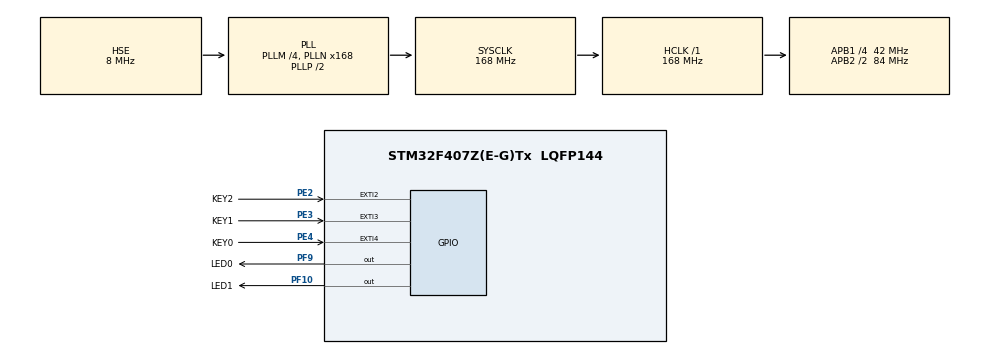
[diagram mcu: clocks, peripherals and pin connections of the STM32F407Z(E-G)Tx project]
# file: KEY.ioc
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Mcu.Family=STM32F4
Mcu.Name=STM32F407Z(E-G)Tx
Mcu.Package=LQFP144
NVIC.EXTI2_IRQn=true\:2\:2\:true\:false\:true\:true\:true
NVIC.EXTI3_IRQn=true\:2\:2\:true\:false\:true\:true\:true
NVIC.EXTI4_IRQn=true\:2\:2\:true\:false\:true\:true\:true
NVIC.PriorityGroup=NVIC_PRIORITYGROUP_2
PC14-OSC32_IN.Mode=LSE-External-Oscillator
PC14-OSC32_IN.Signal=RCC_OSC32_IN
PC15-OSC32_OUT.Mode=LSE-External-Oscillator
PC15-OSC32_OUT.Signal=RCC_OSC32_OUT
PE2.GPIO_Label=KEY2
PE2.GPIO_ModeDefaultEXTI=GPIO_MODE_IT_FALLING
PE2.GPIO_PuPd=GPIO_PULLUP
PE2.Signal=GPXTI2
PE3.GPIO_Label=KEY1
PE3.GPIO_ModeDefaultEXTI=GPIO_MODE_IT_FALLING
PE3.GPIO_PuPd=GPIO_PULLUP
PE3.Signal=GPXTI3
PE4.GPIO_Label=KEY0
PE4.GPIO_ModeDefaultEXTI=GPIO_MODE_IT_FALLING
PE4.GPIO_PuPd=GPIO_PULLUP
PE4.Signal=GPXTI4
PF10.GPIO_Label=LED1
PF10.GPIO_ModeDefaultOutputPP=GPIO_MODE_OUTPUT_PP
PF10.GPIO_PuPd=GPIO_PULLUP
PF10.GPIO_Speed=GPIO_SPEED_FREQ_HIGH
PF10.PinState=GPIO_PIN_SET
PF10.Signal=GPIO_Output
PF9.GPIO_Label=LED0
PF9.GPIO_ModeDefaultOutputPP=GPIO_MODE_OUTPUT_PP
PF9.GPIO_PuPd=GPIO_PULLUP
PF9.PinState=GPIO_PIN_SET
PF9.Signal=GPIO_Output
PH0-OSC_IN.Mode=HSE-External-Oscillator
PH0-OSC_IN.Signal=RCC_OSC_IN
PH1-OSC_OUT.Mode=HSE-External-Oscillator
PH1-OSC_OUT.Signal=RCC_OSC_OUT
ProjectManager.HeapSize=0x200
ProjectManager.StackSize=0x400
ProjectManager.TargetToolchain=MDK-ARM V5.27
RCC.48MHZClocksFreq_Value=84000000
RCC.AHBFreq_Value=168000000
RCC.APB1CLKDivider=RCC_HCLK_DIV4
RCC.APB1Freq_Value=42000000
RCC.APB1TimFreq_Value=84000000
RCC.APB2CLKDivider=RCC_HCLK_DIV2
RCC.APB2Freq_Value=84000000
RCC.APB2TimFreq_Value=168000000
RCC.CortexFreq_Value=168000000
RCC.HCLKFreq_Value=168000000
RCC.HSE_VALUE=8000000
RCC.HSI_VALUE=16000000
RCC.PLLM=4
RCC.PLLN=168
RCC.PLLSourceVirtual=RCC_PLLSOURCE_HSE
RCC.SYSCLKFreq_VALUE=168000000
RCC.SYSCLKSource=RCC_SYSCLKSOURCE_PLLCLK
RCC.VCOOutputFreq_Value=336000000
board=custom

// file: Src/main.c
/* USER CODE BEGIN Header */
/**
  ******************************************************************************
  * @file           : main.c
  * @brief          : Main program body
  ******************************************************************************
  * @attention
  *
  * <h2><center>&copy; Copyright (c) 2021 STMicroelectronics.
  * All rights reserved.</center></h2>
  *
  * This software component is licensed by ST under BSD 3-Clause license,
  * the "License"; You may not use this file except in compliance with the
  * License. You may obtain a copy of the License at:
  *                        opensource.org/licenses/BSD-3-Clause
  *
  ******************************************************************************
  */
/* USER CODE END Header */

#include "main.h"
#include "gpio.h"

void SystemClock_Config(void);

int main(void)
{

  /* MCU Configuration--------------------------------------------------------*/

  /* Reset of all peripherals, Initializes the Flash interface and the Systick. */
  HAL_Init();

  /* Configure the system clock */
  SystemClock_Config();

  /* Initialize all configured peripherals */
  MX_GPIO_Init();

  /* Infinite loop */
  while (1)
  {

  }
}

void SystemClock_Config(void)
{
  RCC_OscInitTypeDef RCC_OscInitStruct = {0};
  RCC_ClkInitTypeDef RCC_ClkInitStruct = {0};

  /** Configure the main internal regulator output voltage
  */
  __HAL_RCC_PWR_CLK_ENABLE();
  __HAL_PWR_VOLTAGESCALING_CONFIG(PWR_REGULATOR_VOLTAGE_SCALE1);
  /** Initializes the CPU, AHB and APB busses clocks
  */
  RCC_OscInitStruct.OscillatorType = RCC_OSCILLATORTYPE_HSE;
  RCC_OscInitStruct.HSEState = RCC_HSE_ON;
  RCC_OscInitStruct.PLL.PLLState = RCC_PLL_ON;
  RCC_OscInitStruct.PLL.PLLSource = RCC_PLLSOURCE_HSE;
  RCC_OscInitStruct.PLL.PLLM = 4;
  RCC_OscInitStruct.PLL.PLLN = 168;
  RCC_OscInitStruct.PLL.PLLP = RCC_PLLP_DIV2;
  RCC_OscInitStruct.PLL.PLLQ = 4;
  if (HAL_RCC_OscConfig(&RCC_OscInitStruct) != HAL_OK)
  {
    Error_Handler();
  }
  /** Initializes the CPU, AHB and APB busses clocks
  */
  RCC_ClkInitStruct.ClockType = RCC_CLOCKTYPE_HCLK|RCC_CLOCKTYPE_SYSCLK
                              |RCC_CLOCKTYPE_PCLK1|RCC_CLOCKTYPE_PCLK2;
  RCC_ClkInitStruct.SYSCLKSource = RCC_SYSCLKSOURCE_PLLCLK;
  RCC_ClkInitStruct.AHBCLKDivider = RCC_SYSCLK_DIV1;
  RCC_ClkInitStruct.APB1CLKDivider = RCC_HCLK_DIV4;
  RCC_ClkInitStruct.APB2CLKDivider = RCC_HCLK_DIV2;

  if (HAL_RCC_ClockConfig(&RCC_ClkInitStruct, FLASH_LATENCY_5) != HAL_OK)
  {
    Error_Handler();
  }
}

/* USER CODE BEGIN 4 */
void HAL_GPIO_EXTI_Callback(uint16_t GPIO_Pin)
{
	HAL_Delay(50); //����
	switch(GPIO_Pin)
	{
		case GPIO_PIN_2:
			if(HAL_GPIO_ReadPin(KEY2_GPIO_Port,KEY2_Pin)==0)
			{
				HAL_GPIO_WritePin(LED1_GPIO_Port,LED1_Pin,GPIO_PIN_SET);
				HAL_GPIO_WritePin(LED0_GPIO_Port,LED0_Pin,GPIO_PIN_SET);
			}
		break;
		case GPIO_PIN_3:
			if(HAL_GPIO_ReadPin(KEY1_GPIO_Port,KEY1_Pin)==0)
			{
				HAL_GPIO_WritePin(LED1_GPIO_Port,LED1_Pin,GPIO_PIN_RESET);
			}
		break;
		case GPIO_PIN_4:
			if(HAL_GPIO_ReadPin(KEY0_GPIO_Port,KEY0_Pin)==0)
			{
				HAL_GPIO_WritePin(LED0_GPIO_Port,LED0_Pin,GPIO_PIN_RESET);
			}
		break;
	}
}
/* USER CODE END 4 */

void Error_Handler(void)
{
}

/************************ (C) COPYRIGHT STMicroelectronics *****END OF FILE****/
